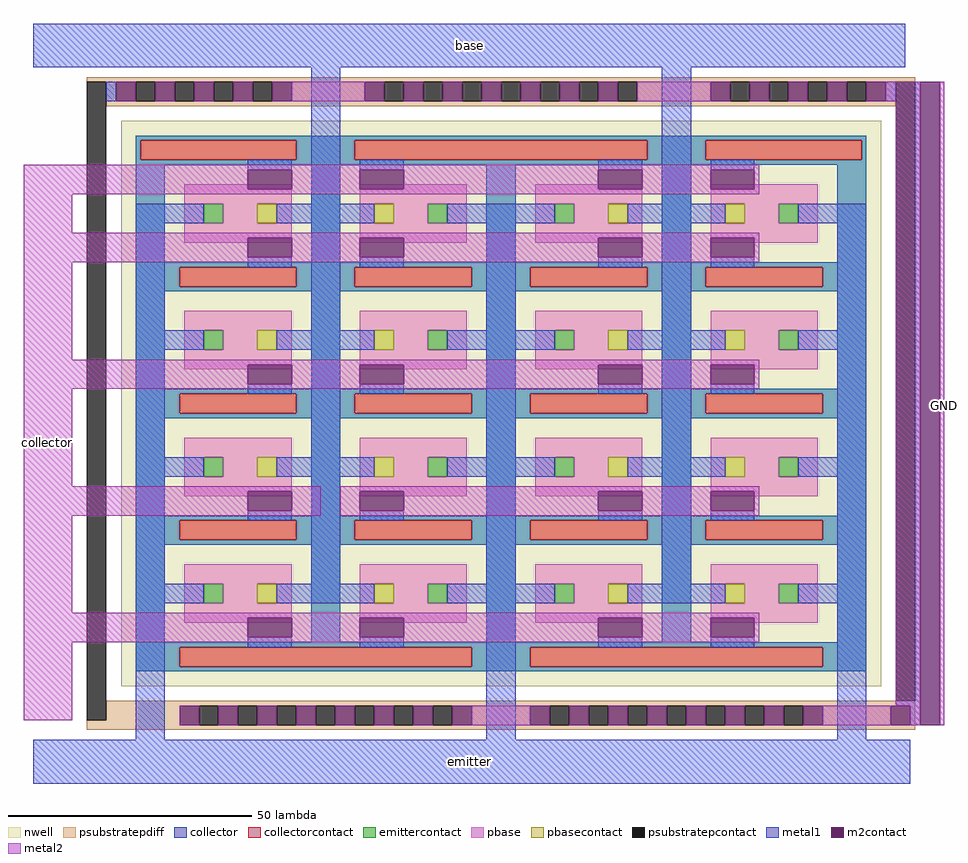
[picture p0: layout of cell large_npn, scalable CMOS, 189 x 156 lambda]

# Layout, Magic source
magic
tech scmos
<< nwell >>
rect 18 19 174 135
<< metal1 >>
rect 0 146 179 155
rect 15 139 17 143
rect 44 125 53 127
rect 57 118 63 146
rect 67 125 76 127
rect 116 125 125 127
rect 129 118 135 146
rect 175 139 177 143
rect 139 125 148 127
rect 21 114 35 118
rect 50 114 70 118
rect 85 114 107 118
rect 122 114 142 118
rect 157 114 171 118
rect 21 92 27 114
rect 44 105 53 107
rect 57 92 63 114
rect 67 105 76 107
rect 93 92 99 114
rect 116 105 125 107
rect 129 92 135 114
rect 139 105 148 107
rect 165 92 171 114
rect 21 88 35 92
rect 50 88 70 92
rect 85 88 107 92
rect 122 88 142 92
rect 157 88 171 92
rect 21 66 27 88
rect 44 79 53 81
rect 57 66 63 88
rect 67 79 76 81
rect 93 66 99 88
rect 116 79 125 81
rect 129 66 135 88
rect 139 79 148 81
rect 165 66 171 88
rect 21 62 35 66
rect 50 62 70 66
rect 85 62 107 66
rect 122 62 142 66
rect 157 62 171 66
rect 21 40 27 62
rect 44 53 53 55
rect 57 40 63 62
rect 67 53 76 55
rect 93 40 99 62
rect 116 53 125 55
rect 129 40 135 62
rect 139 53 148 55
rect 165 40 171 62
rect 21 36 35 40
rect 50 36 70 40
rect 85 36 107 40
rect 122 36 142 40
rect 157 36 171 40
rect 21 8 27 36
rect 44 27 53 29
rect 67 27 76 29
rect 93 8 99 36
rect 116 27 125 29
rect 139 27 148 29
rect 165 8 171 36
rect 181 16 182 143
rect 177 15 182 16
rect 180 11 182 15
rect 0 -1 180 8
<< metal2 >>
rect 53 139 68 143
rect 124 139 139 143
rect 175 139 182 143
rect -2 125 149 126
rect -2 121 44 125
rect 53 121 67 125
rect 76 121 116 125
rect 125 121 139 125
rect 148 121 149 125
rect -2 120 149 121
rect -2 112 8 120
rect -2 111 149 112
rect -2 107 44 111
rect 53 107 67 111
rect 76 107 116 111
rect 125 107 139 111
rect 148 107 149 111
rect -2 106 149 107
rect -2 86 8 106
rect -2 85 149 86
rect -2 81 44 85
rect 53 81 67 85
rect 76 81 116 85
rect 125 81 139 85
rect 148 81 149 85
rect -2 80 149 81
rect -2 60 8 80
rect -2 59 59 60
rect -2 55 44 59
rect 53 55 59 59
rect -2 54 59 55
rect 63 59 149 60
rect 63 55 67 59
rect 76 55 116 59
rect 125 55 139 59
rect 148 55 149 59
rect 63 54 149 55
rect -2 34 8 54
rect -2 33 149 34
rect -2 29 44 33
rect 53 29 67 33
rect 76 29 116 33
rect 125 29 139 33
rect 148 29 149 33
rect -2 28 149 29
rect -2 12 8 28
rect 177 15 182 139
rect 90 11 102 15
rect 162 11 176 15
rect 180 11 182 15
rect 186 11 187 143
<< collector >>
rect 21 131 171 132
rect 21 127 22 131
rect 54 127 66 131
rect 126 127 138 131
rect 170 127 171 131
rect 21 126 171 127
rect 21 106 27 126
rect 57 106 63 126
rect 93 106 99 126
rect 129 106 135 126
rect 165 106 171 126
rect 21 105 171 106
rect 21 101 30 105
rect 54 101 66 105
rect 90 101 102 105
rect 126 101 138 105
rect 162 101 171 105
rect 21 100 171 101
rect 21 80 27 100
rect 57 80 63 100
rect 93 80 99 100
rect 129 80 135 100
rect 165 80 171 100
rect 21 79 171 80
rect 21 75 30 79
rect 54 75 66 79
rect 90 75 102 79
rect 126 75 138 79
rect 162 75 171 79
rect 21 74 171 75
rect 21 54 27 74
rect 57 54 63 74
rect 93 54 99 74
rect 129 54 135 74
rect 165 54 171 74
rect 21 53 171 54
rect 21 49 30 53
rect 54 49 66 53
rect 90 49 102 53
rect 126 49 138 53
rect 162 49 171 53
rect 21 48 171 49
rect 21 28 27 48
rect 57 28 63 48
rect 93 28 99 48
rect 129 28 135 48
rect 165 28 171 48
rect 21 27 171 28
rect 21 23 30 27
rect 90 23 102 27
rect 162 23 171 27
rect 21 22 171 23
<< pbase >>
rect 31 118 53 122
rect 31 114 35 118
rect 39 114 46 118
rect 50 114 53 118
rect 31 110 53 114
rect 67 118 89 122
rect 67 114 70 118
rect 74 114 81 118
rect 85 114 89 118
rect 67 110 89 114
rect 103 118 125 122
rect 103 114 107 118
rect 111 114 118 118
rect 122 114 125 118
rect 103 110 125 114
rect 139 118 161 122
rect 139 114 142 118
rect 146 114 153 118
rect 157 114 161 118
rect 139 110 161 114
rect 31 92 53 96
rect 31 88 35 92
rect 39 88 46 92
rect 50 88 53 92
rect 31 84 53 88
rect 67 92 89 96
rect 67 88 70 92
rect 74 88 81 92
rect 85 88 89 92
rect 67 84 89 88
rect 103 92 125 96
rect 103 88 107 92
rect 111 88 118 92
rect 122 88 125 92
rect 103 84 125 88
rect 139 92 161 96
rect 139 88 142 92
rect 146 88 153 92
rect 157 88 161 92
rect 139 84 161 88
rect 31 66 53 70
rect 31 62 35 66
rect 39 62 46 66
rect 50 62 53 66
rect 31 58 53 62
rect 67 66 89 70
rect 67 62 70 66
rect 74 62 81 66
rect 85 62 89 66
rect 67 58 89 62
rect 103 66 125 70
rect 103 62 107 66
rect 111 62 118 66
rect 122 62 125 66
rect 103 58 125 62
rect 139 66 161 70
rect 139 62 142 66
rect 146 62 153 66
rect 157 62 161 66
rect 139 58 161 62
rect 31 40 53 44
rect 31 36 35 40
rect 39 36 46 40
rect 50 36 53 40
rect 31 32 53 36
rect 67 40 89 44
rect 67 36 70 40
rect 74 36 81 40
rect 85 36 89 40
rect 67 32 89 36
rect 103 40 125 44
rect 103 36 107 40
rect 111 36 118 40
rect 122 36 125 40
rect 103 32 125 36
rect 139 40 161 44
rect 139 36 142 40
rect 146 36 153 40
rect 157 36 161 40
rect 139 32 161 36
<< collectorcontact >>
rect 22 127 54 131
rect 66 127 126 131
rect 138 127 170 131
rect 30 101 54 105
rect 66 101 90 105
rect 102 101 126 105
rect 138 101 162 105
rect 30 75 54 79
rect 66 75 90 79
rect 102 75 126 79
rect 138 75 162 79
rect 30 49 54 53
rect 66 49 90 53
rect 102 49 126 53
rect 138 49 162 53
rect 30 23 90 27
rect 102 23 162 27
<< emittercontact >>
rect 35 114 39 118
rect 81 114 85 118
rect 107 114 111 118
rect 153 114 157 118
rect 35 88 39 92
rect 81 88 85 92
rect 107 88 111 92
rect 153 88 157 92
rect 35 62 39 66
rect 81 62 85 66
rect 107 62 111 66
rect 153 62 157 66
rect 35 36 39 40
rect 81 36 85 40
rect 107 36 111 40
rect 153 36 157 40
<< pbasecontact >>
rect 46 114 50 118
rect 70 114 74 118
rect 118 114 122 118
rect 142 114 146 118
rect 46 88 50 92
rect 70 88 74 92
rect 118 88 122 92
rect 142 88 146 92
rect 46 62 50 66
rect 70 62 74 66
rect 118 62 122 66
rect 142 62 146 66
rect 46 36 50 40
rect 70 36 74 40
rect 118 36 122 40
rect 142 36 146 40
<< m2contact >>
rect 17 139 21 143
rect 25 139 29 143
rect 33 139 37 143
rect 41 139 45 143
rect 49 139 53 143
rect 44 121 53 125
rect 68 139 72 143
rect 76 139 80 143
rect 84 139 88 143
rect 92 139 96 143
rect 100 139 104 143
rect 108 139 112 143
rect 116 139 120 143
rect 67 121 76 125
rect 116 121 125 125
rect 139 139 143 143
rect 147 139 151 143
rect 155 139 159 143
rect 163 139 167 143
rect 171 139 175 143
rect 139 121 148 125
rect 44 107 53 111
rect 67 107 76 111
rect 116 107 125 111
rect 139 107 148 111
rect 44 81 53 85
rect 67 81 76 85
rect 116 81 125 85
rect 139 81 148 85
rect 44 55 53 59
rect 67 55 76 59
rect 116 55 125 59
rect 139 55 148 59
rect 44 29 53 33
rect 67 29 76 33
rect 30 11 34 15
rect 38 11 42 15
rect 46 11 50 15
rect 54 11 58 15
rect 62 11 66 15
rect 70 11 74 15
rect 78 11 82 15
rect 86 11 90 15
rect 116 29 125 33
rect 139 29 148 33
rect 102 11 106 15
rect 110 11 114 15
rect 118 11 122 15
rect 126 11 130 15
rect 134 11 138 15
rect 142 11 146 15
rect 150 11 154 15
rect 158 11 162 15
rect 176 11 180 15
rect 182 11 186 143
<< psubstratepcontact >>
rect 11 12 15 143
rect 21 139 25 143
rect 29 139 33 143
rect 37 139 41 143
rect 45 139 49 143
rect 72 139 76 143
rect 80 139 84 143
rect 88 139 92 143
rect 96 139 100 143
rect 104 139 108 143
rect 112 139 116 143
rect 120 139 124 143
rect 143 139 147 143
rect 151 139 155 143
rect 159 139 163 143
rect 167 139 171 143
rect 177 16 181 143
rect 34 11 38 15
rect 42 11 46 15
rect 50 11 54 15
rect 58 11 62 15
rect 66 11 70 15
rect 74 11 78 15
rect 82 11 86 15
rect 106 11 110 15
rect 114 11 118 15
rect 122 11 126 15
rect 130 11 134 15
rect 138 11 142 15
rect 146 11 150 15
rect 154 11 158 15
<< psubstratepdiff >>
rect 11 143 181 144
rect 15 139 21 143
rect 25 139 29 143
rect 33 139 37 143
rect 41 139 45 143
rect 49 139 72 143
rect 76 139 80 143
rect 84 139 88 143
rect 92 139 96 143
rect 100 139 104 143
rect 108 139 112 143
rect 116 139 120 143
rect 124 139 143 143
rect 147 139 151 143
rect 155 139 159 143
rect 163 139 167 143
rect 171 139 177 143
rect 15 138 177 139
rect 15 15 181 16
rect 15 12 34 15
rect 11 11 34 12
rect 38 11 42 15
rect 46 11 50 15
rect 54 11 58 15
rect 62 11 66 15
rect 70 11 74 15
rect 78 11 82 15
rect 86 11 106 15
rect 110 11 114 15
rect 118 11 122 15
rect 126 11 130 15
rect 134 11 138 15
rect 142 11 146 15
rect 150 11 154 15
rect 158 11 181 15
rect 11 10 181 11
<< labels >>
rlabel metal1 0 -1 179 8 0 emitter
rlabel metal2 187 13 187 140 7 GND
rlabel metal1 0 146 179 155 0 base
rlabel metal2 -2 13 8 125 0 collector
<< end >>
